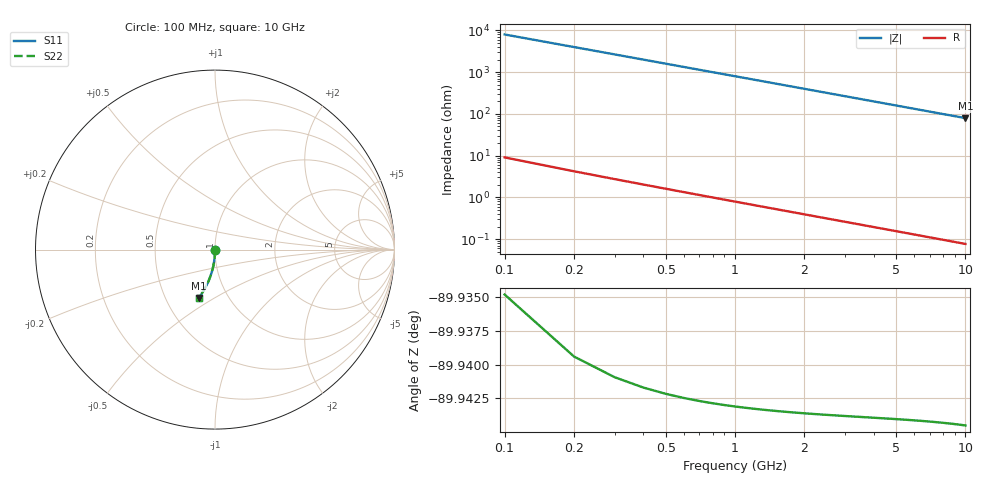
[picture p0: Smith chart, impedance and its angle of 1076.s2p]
# Hz S RI R 50.00
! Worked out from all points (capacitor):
!   100 points, 100 MHz to 10 GHz, reference 50 ohm
!   read as one part in shunt: C = 200 fF near 100 MHz
!   lowest |Z| = 79.1 ohm at 10 GHz (marker M1)
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1e8  3.11e-05 -0.00295  0.9999 -0.00332  0.9999 -0.00332  3.11e-05 -0.00295
2e8  -1.09e-06 -0.0059  0.9999 -0.00664  0.9999 -0.00664  -1.09e-06 -0.0059
3e8  -5.29e-05 -0.00886  0.9999 -0.00995  0.9999 -0.00995  -5.29e-05 -0.00886
4e8  -0.000124 -0.0118  0.9998 -0.0133  0.9998 -0.0133  -0.000124 -0.0118
5e8  -0.000215 -0.0148  0.9997 -0.0166  0.9997 -0.0166  -0.000215 -0.0148
6e8  -0.000326 -0.0177  0.9996 -0.0199  0.9996 -0.0199  -0.000326 -0.0177
7e8  -0.000456 -0.0207  0.9994 -0.0232  0.9994 -0.0232  -0.000456 -0.0207
8e8  -0.000606 -0.0236  0.9993 -0.0265  0.9993 -0.0265  -0.000606 -0.0236
9e8  -0.000776 -0.0266  0.9991 -0.0299  0.9991 -0.0299  -0.000776 -0.0266
1.1e9  -0.00117 -0.0325  0.9987 -0.0365  0.9987 -0.0365  -0.00117 -0.0325
1.4e9  -0.00192 -0.0413  0.998 -0.0464  0.998 -0.0464  -0.00192 -0.0413
1.8e9  -0.00318 -0.053  0.9967 -0.0596  0.9967 -0.0596  -0.00318 -0.053
2.1e9  -0.00433 -0.0618  0.9955 -0.0695  0.9955 -0.0695  -0.00433 -0.0618
2.5e9  -0.00614 -0.0735  0.9937 -0.0827  0.9937 -0.0827  -0.00614 -0.0735
2.9e9  -0.00826 -0.0851  0.9916 -0.0957  0.9916 -0.0957  -0.00826 -0.0851
3.4e9  -0.0113 -0.0995  0.9885 -0.112  0.9885 -0.112  -0.0113 -0.0995
4.2e9  -0.0172 -0.1223  0.9826 -0.1377  0.9826 -0.1377  -0.0172 -0.1223
5.1e9  -0.0252 -0.1474  0.9745 -0.1662  0.9745 -0.1662  -0.0252 -0.1474
5.9e9  -0.0336 -0.1692  0.9661 -0.191  0.9661 -0.191  -0.0336 -0.1692
6.7e9  -0.043 -0.1903  0.9566 -0.2151  0.9566 -0.2151  -0.043 -0.1903
8.4e9  -0.0662 -0.233  0.9332 -0.2643  0.9332 -0.2643  -0.0662 -0.233
1e10  -0.0916 -0.2699  0.9076 -0.3072  0.9076 -0.3072  -0.0916 -0.2699
